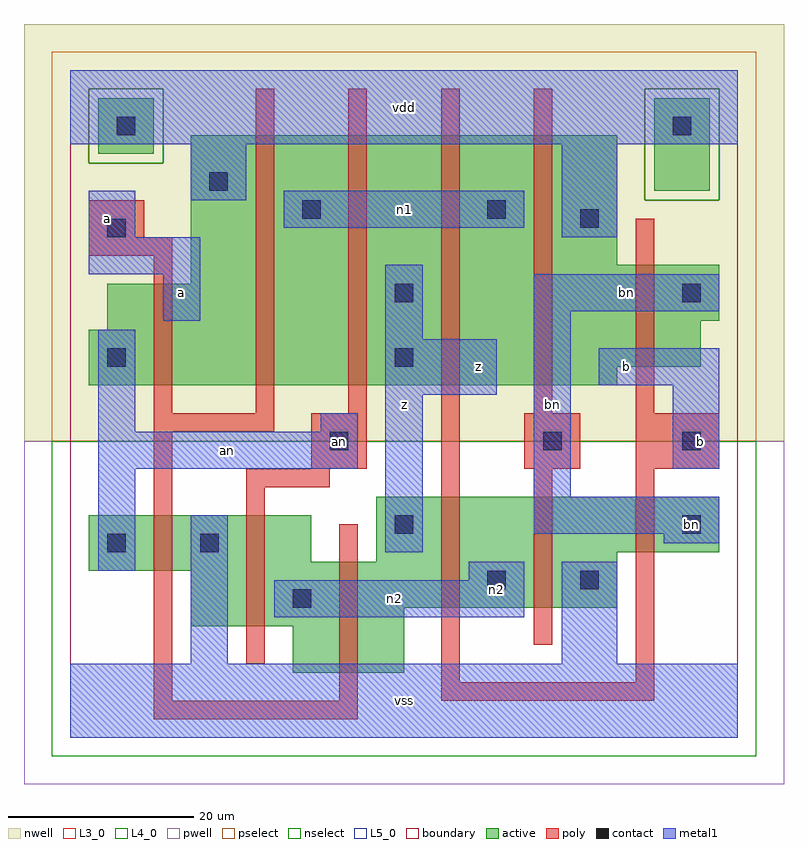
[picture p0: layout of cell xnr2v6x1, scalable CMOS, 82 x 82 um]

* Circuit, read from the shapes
.subckt xnr2v6x1 a an b bn n1 n2 vdd vss z
M1 vss a an VSUBS nfet w=6u l=2u
M2 n2 an vss VSUBS nfet w=12u l=2u
M3 z a n2 VSUBS nfet w=12u l=2u
M4 n2 b z VSUBS nfet w=12u l=2u
M5 vss bn n2 VSUBS nfet w=12u l=2u
M6 bn b vss VSUBS nfet w=6u l=2u
M7 vdd a an vdd pfet w=11u l=2u
M8 n1 a vdd vdd pfet w=27u l=2u
M9 z an n1 vdd pfet w=27u l=2u
M10 n1 b z vdd pfet w=27u l=2u
M11 vdd bn n1 vdd pfet w=27u l=2u
M12 bn b vdd vdd pfet w=11u l=2u
.ends

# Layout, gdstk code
import gdstk
lib = gdstk.Library(unit=1e-6, precision=1e-09)
def R(c, l, rs):  # rectangles x0, y0, x1, y1
    for r in rs: c.add(gdstk.rectangle(r[:2], r[2:], *l))
L3_0 = (3, 0)
L4_0 = (4, 0)
L5_0 = (5, 0)
contact = (25, 0)
pwell = (41, 0)
nwell = (42, 0)
active = (43, 0)
pselect = (44, 0)
nselect = (45, 0)
poly = (46, 0)
metal1 = (49, 0)
boundary = (63, 0)

xnr2v6x1 = lib.new_cell('xnr2v6x1')
R(xnr2v6x1, L3_0, [(24,7,36,12), (13,12,36,14), (13,14,59,18), (2,18,59,19), (2,19,26,24), (33,19,59,20), (33,20,70,26)])
R(xnr2v6x1, L4_0, [(2,38,59,40), (2,40,68,44), (4,44,68,45), (4,45,70,49), (13,49,70,51), (13,51,59,65)])
R(xnr2v6x1, L5_0, [(63,59,69,69), (3,63,9,69)])
R(xnr2v6x1, contact, [(24,14,26,16), (45,16,47,18), (55,16,57,18), (4,20,6,22), (14,20,16,22), (35,22,37,24), (66,22,68,24), (28,31,30,33), (51,31,53,33), (66,31,68,33), (4,40,6,42), (35,40,37,42), (35,47,37,49), (66,47,68,49), (4,54,6,56), (55,55,57,57), (25,56,27,58), (45,56,47,58), (15,59,17,61), (5,65,7,67), (65,65,67,67)])
R(xnr2v6x1, pwell, [(-5,-5,77,32)])
R(xnr2v6x1, nwell, [(-5,32,77,77)])
R(xnr2v6x1, active, [(24,7,36,12), (13,12,36,14), (13,14,59,18), (2,18,59,19), (2,19,26,24), (33,19,59,20), (33,20,70,26), (2,38,59,40), (2,40,68,44), (4,44,68,45), (4,45,70,49), (13,49,70,51), (13,51,59,65), (63,59,69,69), (3,63,9,69)])
R(xnr2v6x1, pselect, [(-2,32,74,58), (-2,58,62,62), (70,58,74,70), (-2,62,2,70), (10,62,62,70), (-2,70,74,74)])
R(xnr2v6x1, nselect, [(-2,-2,74,32), (62,58,70,70), (2,62,10,70)])
R(xnr2v6x1, poly, [(9,2,31,4), (9,4,11,33), (29,4,31,23), (40,4,63,6), (40,6,42,70), (61,6,63,29), (19,8,21,27), (50,10,52,29), (19,27,28,29), (26,29,32,35), (49,29,55,35), (61,29,70,35), (9,33,22,35), (9,35,11,52), (20,35,22,70), (30,35,32,70), (50,35,52,70), (61,35,63,56), (2,52,11,54), (2,54,8,58)])
R(xnr2v6x1, metal1, [(0,0,72,8), (13,8,17,24), (53,8,59,19), (22,13,49,17), (43,17,49,19), (3,18,7,29), (34,20,38,37), (64,21,70,22), (50,22,70,26), (50,26,54,46), (3,29,31,33), (65,29,70,38), (3,33,7,44), (27,33,31,35), (34,37,46,43), (57,38,70,42), (34,43,38,51), (10,45,14,50), (50,46,70,50), (2,50,14,54), (2,54,7,59), (53,54,59,64), (23,55,49,59), (13,58,19,64), (0,64,72,72)])
R(xnr2v6x1, boundary, [(0,0,72,72)])
xnr2v6x1.add(gdstk.Label('an', (17,31), layer=49, texttype=0))
xnr2v6x1.add(gdstk.Label('an', (29,32), layer=49, texttype=0))
xnr2v6x1.add(gdstk.Label('n2', (35,15), layer=49, texttype=0))
xnr2v6x1.add(gdstk.Label('n2', (46,16), layer=49, texttype=0))
xnr2v6x1.add(gdstk.Label('n1', (36,57), layer=49, texttype=0))
xnr2v6x1.add(gdstk.Label('bn', (67,23), layer=49, texttype=0))
xnr2v6x1.add(gdstk.Label('bn', (52,36), layer=49, texttype=0))
xnr2v6x1.add(gdstk.Label('bn', (60,48), layer=49, texttype=0))
xnr2v6x1.add(gdstk.Label('a', (12,48), layer=49, texttype=0))
xnr2v6x1.add(gdstk.Label('a', (4,56), layer=49, texttype=0))
xnr2v6x1.add(gdstk.Label('vss', (36,4), layer=49, texttype=0))
xnr2v6x1.add(gdstk.Label('z', (44,40), layer=49, texttype=0))
xnr2v6x1.add(gdstk.Label('z', (36,36), layer=49, texttype=0))
xnr2v6x1.add(gdstk.Label('vdd', (36,68), layer=49, texttype=0))
xnr2v6x1.add(gdstk.Label('b', (68,32), layer=49, texttype=0))
xnr2v6x1.add(gdstk.Label('b', (60,40), layer=49, texttype=0))

lib.write_gds('xnr2v6x1.gds')
